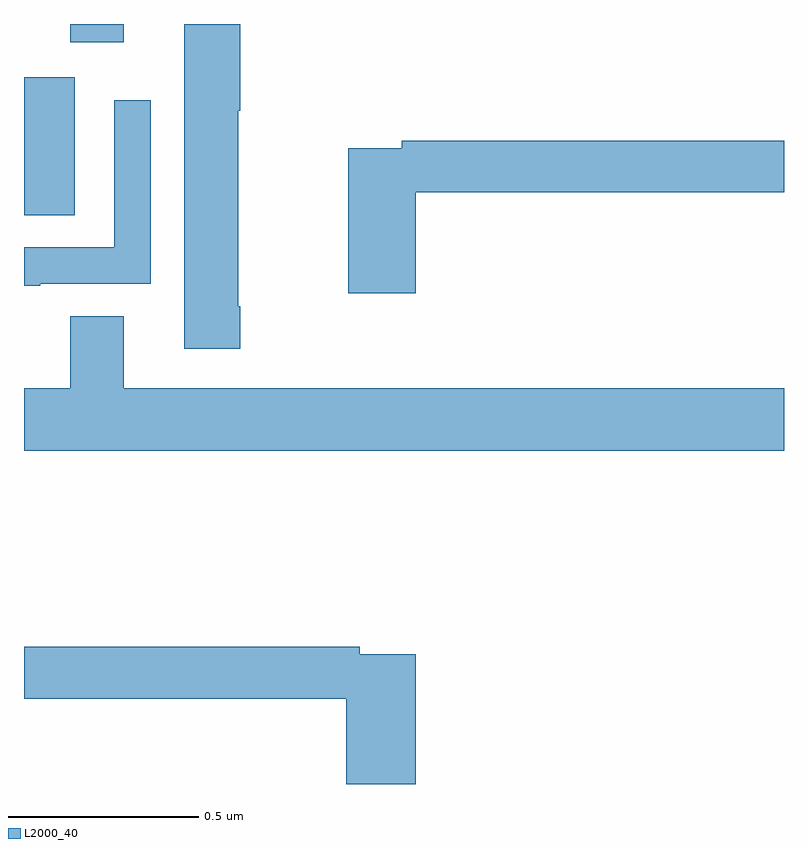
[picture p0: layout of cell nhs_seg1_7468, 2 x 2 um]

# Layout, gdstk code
import gdstk
lib = gdstk.Library(unit=1e-6, precision=1e-09)
def R(c, l, rs):  # rectangles x0, y0, x1, y1
    for r in rs: c.add(gdstk.rectangle(r[:2], r[2:], *l))
def P(c, l, *ps):  # polygons
    for p in ps: c.add(gdstk.Polygon(p, *l))
L2000_40 = (2000, 40)

nhs_seg1_7468 = lib.new_cell('nhs_seg1_7468')
R(nhs_seg1_7468, L2000_40, [(204,541.696,204.133,542.059), (204.122,542.151,204.262,542.199)])
P(nhs_seg1_7468, L2000_40, [(204.569,541.456),(204.564,541.456),(204.564,541.971),(204.569,541.971),(204.569,542.199),(204.422,542.199),(204.422,541.344),(204.569,541.344)],
  [(204.043,541.515),(204.333,541.515),(204.333,541.999),(204.237,541.999),(204.237,541.611),(204,541.611),(204,541.51),(204.043,541.51)],
  [(205.031,541.756),(206,541.756),(206,541.892),(204.994,541.892),(204.994,541.872),(204.853,541.872),(204.853,541.491),(205.031,541.491)],
  [(206,541.24),(204.262,541.24),(204.262,541.43),(204.122,541.43),(204.122,541.24),(204,541.24),(204,541.076),(206,541.076)],
  [(205.031,540.54),(204.884,540.54),(204.884,540.56),(204,540.56),(204,540.424),(204.848,540.424),(204.848,540.199),(205.031,540.199)])

lib.write_gds('nhs_seg1_7468.gds')
